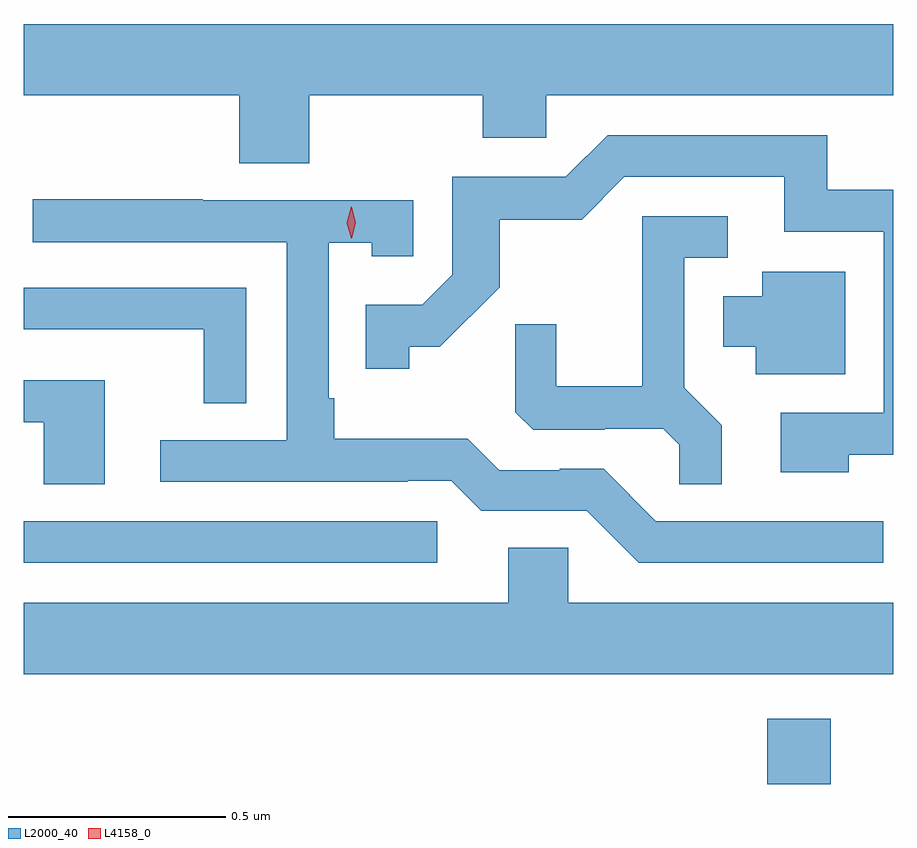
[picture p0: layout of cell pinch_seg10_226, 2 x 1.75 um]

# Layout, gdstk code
import gdstk
lib = gdstk.Library(unit=1e-6, precision=1e-09)
def R(c, l, rs):  # rectangles x0, y0, x1, y1
    for r in rs: c.add(gdstk.rectangle(r[:2], r[2:], *l))
def P(c, l, *ps):  # polygons
    for p in ps: c.add(gdstk.Polygon(p, *l))
L2000_40 = (2000, 40)
L4158_0 = (4158, 0)

pinch_seg10_226 = lib.new_cell('pinch_seg10_226')
R(pinch_seg10_226, L2000_40, [(642.872,1313.383,643.018,1313.533), (641.161,1313.892,642.112,1313.988)])
P(pinch_seg10_226, L2000_40, [(641.817,1314.968),(642.217,1314.968),(642.217,1314.87),(642.363,1314.87),(642.363,1314.968),(643.161,1314.968),(643.161,1315.132),(641.161,1315.132),(641.161,1314.968),(641.657,1314.968),(641.657,1314.811),(641.817,1314.811)],
  [(643.059,1314.141),(643.161,1314.141),(643.161,1314.75),(643.01,1314.75),(643.01,1314.876),(642.504,1314.876),(642.408,1314.78),(642.147,1314.78),(642.147,1314.555),(642.078,1314.486),(641.947,1314.486),(641.947,1314.339),(642.048,1314.339),(642.048,1314.389),(642.118,1314.389),(642.256,1314.526),(642.256,1314.682),(642.445,1314.682),(642.543,1314.78),(642.911,1314.78),(642.911,1314.654),(643.14,1314.654),(643.14,1314.237),(642.903,1314.237),(642.903,1314.101),(643.059,1314.101)],
  [(643.138,1313.988),(642.615,1313.988),(642.495,1314.108),(642.394,1314.108),(642.394,1314.105),(642.255,1314.105),(642.182,1314.178),(641.875,1314.178),(641.875,1314.271),(641.862,1314.271),(641.862,1314.629),(641.961,1314.629),(641.961,1314.597),(642.057,1314.597),(642.057,1314.726),(641.573,1314.726),(641.573,1314.729),(641.181,1314.729),(641.181,1314.63),(641.766,1314.63),(641.766,1314.174),(641.475,1314.174),(641.475,1314.078),(642.044,1314.078),(642.044,1314.081),(642.144,1314.081),(642.213,1314.012),(642.456,1314.012),(642.576,1313.892),(643.138,1313.892)],
  [(642.767,1314.209),(642.681,1314.295),(642.681,1314.594),(642.781,1314.594),(642.781,1314.69),(642.584,1314.69),(642.584,1314.298),(642.386,1314.298),(642.386,1314.441),(642.292,1314.441),(642.292,1314.239),(642.333,1314.198),(642.498,1314.198),(642.498,1314.201),(642.632,1314.201),(642.669,1314.164),(642.669,1314.073),(642.767,1314.073)],
  [(643.051,1314.562),(642.86,1314.562),(642.86,1314.505),(642.77,1314.505),(642.77,1314.389),(642.845,1314.389),(642.845,1314.326),(643.051,1314.326)],
  [(641.673,1314.525),(641.161,1314.525),(641.161,1314.43),(641.179,1314.43),(641.179,1314.429),(641.575,1314.429),(641.575,1314.259),(641.673,1314.259)],
  [(641.347,1314.312),(641.161,1314.312),(641.161,1314.216),(641.207,1314.216),(641.207,1314.073),(641.347,1314.073)],
  [(643.161,1313.8),(642.414,1313.8),(642.414,1313.927),(642.275,1313.927),(642.275,1313.8),(641.161,1313.8),(641.161,1313.636),(643.161,1313.636)])
P(pinch_seg10_226, L4158_0, [(641.914,1314.639),(641.914,1314.639),(641.904,1314.675),(641.914,1314.711),(641.914,1314.711),(641.915,1314.711),(641.924,1314.675),(641.915,1314.639)])

lib.write_gds('pinch_seg10_226.gds')
